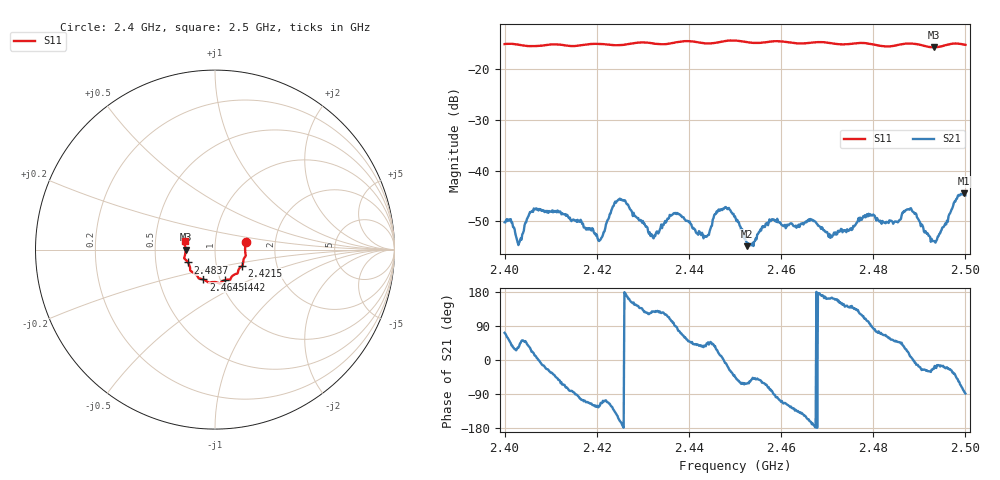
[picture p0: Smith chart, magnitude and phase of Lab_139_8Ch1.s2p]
# Hz S RI R 50
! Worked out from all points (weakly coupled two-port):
!   601 points, 2.4 GHz to 2.5 GHz, reference 50 ohm
!   highest |S21| = -44.49 dB at 2.4997 GHz (marker M1); lowest = -54.9 dB at 2.4527 GHz (marker M2)
!   lowest |S11| = -15.7 dB at 2.4932 GHz (marker M3), VSWR 1.39, Z = 36 - j0.0477 ohm
!   |S11| at or under -10 dB: start of sweep to end of sweep
!   S12 and S22 are empty: the file has one direction only
!   S11 on the Smith chart (normalised r, x): 2.4 GHz: 1.41, +0.12; 2.4215 GHz: 1.33, -0.25; 2.4442 GHz: 1.05, -0.37; 2.4645 GHz: 0.83, -0.29; 2.4837 GHz: 0.73, -0.11; 2.5 GHz: 0.71, +0.07
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2.4e9  0.1714 0.0399  0.000979 0.00295  0 0  0 0
2.403167e9  0.1711 0.0262  0.00156 0.00117  0 0  0 0
2.406667e9  0.1678 -0.00862  0.00408 0.000799  0 0  0 0
2.416667e9  0.1568 -0.0697  -0.00084 -0.00306  0 0  0 0
2.4215e9  0.151 -0.0896  -0.000819 -0.00234  0 0  0 0
2.425167e9  0.1333 -0.1085  -0.00494 -0.00151  0 0  0 0
2.433333e9  0.1083 -0.1385  -0.00149 0.00188  0 0  0 0
2.437167e9  0.0881 -0.1606  0.000105 0.00384  0 0  0 0
2.444167e9  0.0565 -0.1692  0.0016 0.00169  0 0  0 0
2.4465e9  0.0375 -0.1796  0.00397 0.00119  0 0  0 0
2.45e9  0.0252 -0.189  0.00251 -0.0025  0 0  0 0
2.452667e9  0.013 -0.1832  0.000855 -0.00159  0 0  0 0
2.458e9  -0.0283 -0.1846  0.000503 -0.00328  0 0  0 0
2.4645e9  -0.0657 -0.166  -0.0023 -0.00195  0 0  0 0
2.466667e9  -0.0827 -0.162  -0.00323 -0.000614  0 0  0 0
2.470833e9  -0.0958 -0.1521  -0.0022 0.000653  0 0  0 0
2.483333e9  -0.1489 -0.0749  0.00164 0.00258  0 0  0 0
2.483667e9  -0.151 -0.0715  0.00179 0.00263  0 0  0 0
2.488e9  -0.1717 -0.0482  0.00418 0.000694  0 0  0 0
2.493167e9  -0.1633 -0.000645  0.00186 -0.0008  0 0  0 0
2.499667e9  -0.1672 0.0485  0.000871 -0.0059  0 0  0 0
2.5e9  -0.1653 0.0505  0.000163 -0.00572  0 0  0 0
